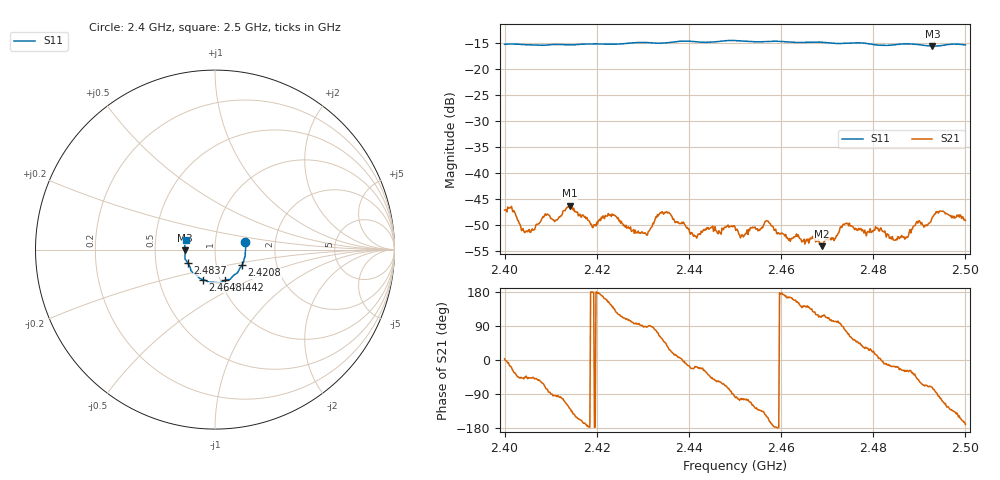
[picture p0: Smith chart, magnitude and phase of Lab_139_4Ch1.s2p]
# Hz S RI R 50
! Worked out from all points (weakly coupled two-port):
!   601 points, 2.4 GHz to 2.5 GHz, reference 50 ohm
!   highest |S21| = -46.36 dB at 2.4142 GHz (marker M1); lowest = -54.2 dB at 2.4688 GHz (marker M2)
!   lowest |S11| = -15.6 dB at 2.4928 GHz (marker M3), VSWR 1.40, Z = 35.8 - j0.339 ohm
!   |S11| at or under -10 dB: start of sweep to end of sweep
!   S12 and S22 are empty: the file has one direction only
!   S11 on the Smith chart (normalised r, x): 2.4 GHz: 1.40, +0.12; 2.4208 GHz: 1.33, -0.24; 2.4442 GHz: 1.05, -0.37; 2.4648 GHz: 0.83, -0.29; 2.4837 GHz: 0.73, -0.11; 2.5 GHz: 0.72, +0.08
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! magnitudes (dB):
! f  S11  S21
! 2.4 GHz  -15.3  -47.2
! 2.4017 GHz  -15.2  -47.2
! 2.4047 GHz  -15.3  -51.2
! 2.4142 GHz  -15.4  -46.4
! 2.4167 GHz  -15.2  -48.6
! 2.4193 GHz  -15.2  -50.1
! 2.4208 GHz  -15.2  -49.2
! 2.4305 GHz  -14.9  -51.6
! 2.4333 GHz  -15.0  -48.3
! 2.4413 GHz  -14.7  -52.2
! 2.4442 GHz  -14.9  -50.6
! 2.45 GHz  -14.5  -50.4
! 2.4517 GHz  -14.6  -52.0
! 2.457 GHz  -14.7  -49.3
! 2.4648 GHz  -14.9  -53.1
! 2.4667 GHz  -14.8  -52.7
! 2.4688 GHz  -14.8  -54.2
! 2.474 GHz  -15.1  -49.8
! 2.4833 GHz  -15.5  -51.9
! 2.4837 GHz  -15.4  -52.7
! 2.4928 GHz  -15.6  -48.5
! 2.5 GHz  -15.4  -49.2
